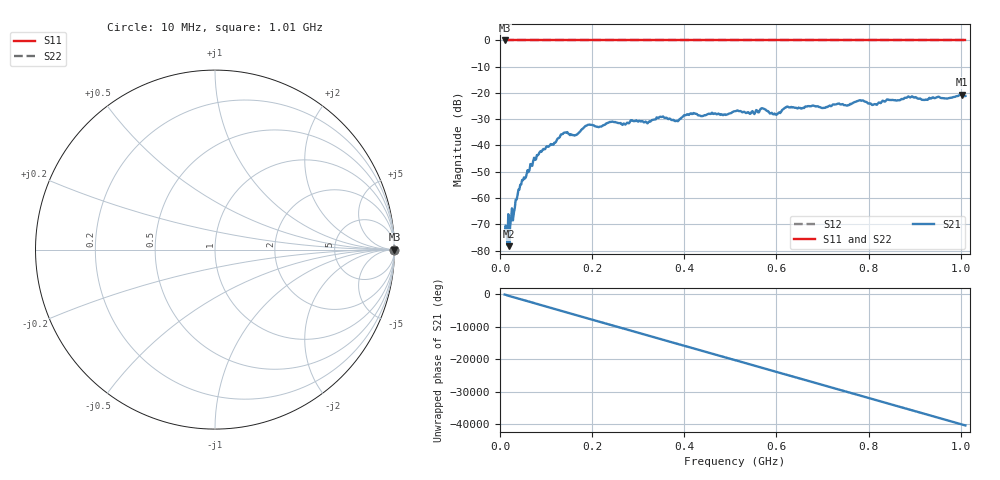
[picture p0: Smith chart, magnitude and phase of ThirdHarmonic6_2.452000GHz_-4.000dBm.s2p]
! 8/17/2025 4:23:09 AM
! C:\ANRITSUVNA\TEMP\TEMP.S2P
! CHANNEL.1
! TR.MEASUREMENT
! RAW.DATA
! RF.CORRECTION.OFF
! AVERAGING.OFF
! IF.BANDWIDTH: 5KHZ
! SWEEPTYPE:  FREQ.SWEEP(Linear)
! Reference Plane Port Info
! PORT:  PORT1  PORT2
! DISTANCE:  0  m  0  m
! TIME:  0  s  0  s
! PHASE.OFFSET:  0  deg.  0  deg.
! LOSS:  0  dB  0  dB
! REF.LOSS:  0  dB  0  dB
! REF.FREQ:  0  Hz  0  Hz
! Power Info
! POWER:  -20  dBm  -20  dBm
! EFF.POWER:  -20  dBm  -20  dBm
! SOURCE.ATTEN:  0  dB  0  dB
! TEST.ATTEN:  0  dB  0  dB
# GHZ S RI R 50.0
! FREQ.GHZ  S11RE  S11IM  S21RE  S21IM  S12RE  S12IM  S22RE  S22IM
!; PortSelection: Port_12
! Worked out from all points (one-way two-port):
!   501 points, 10 MHz to 1.01 GHz, reference 50 ohm
!   highest |S21| = -20.60 dB at 1.002 GHz (marker M1); lowest = -78.3 dB at 20 MHz (marker M2)
!   lowest |S11| = 0.0 dB at 10 MHz (marker M3)
!   |S11| at or under -10 dB: nowhere
!   |S22| runs from 0.0 to 0.0 dB; largest |S21 - S12| = 1.1
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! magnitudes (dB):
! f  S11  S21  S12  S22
! 10 MHz  0.0  -73.4  0.0  0.0
! 20 MHz  0.0  -78.3  0.0  0.0
! 22 MHz  0.0  -70.6  0.0  0.0
! 24 MHz  0.0  -67.9  0.0  0.0
! 44 MHz  0.0  -54.9  0.0  0.0
! 84 MHz  0.0  -43.3  0.0  0.0
! 136 MHz  0.0  -35.7  0.0  0.0
! 164 MHz  0.0  -36.0  0.0  0.0
! 178 MHz  0.0  -33.8  0.0  0.0
! 344 MHz  0.0  -29.5  0.0  0.0
! 384 MHz  0.0  -30.6  0.0  0.0
! 416 MHz  0.0  -28.0  0.0  0.0
! 510 MHz  0.0  -27.0  0.0  0.0
! 570 MHz  0.0  -25.9  0.0  0.0
! 598 MHz  0.0  -28.2  0.0  0.0
! 622 MHz  0.0  -25.3  0.0  0.0
! 678 MHz  0.0  -24.8  0.0  0.0
! 784 MHz  0.0  -23.0  0.0  0.0
! 814 MHz  0.0  -24.2  0.0  0.0
! 844 MHz  0.0  -22.7  0.0  0.0
! 1.002 GHz  0.0  -20.6  0.0  0.0
! 1.01 GHz  0.0  -21.2  0.0  0.0
